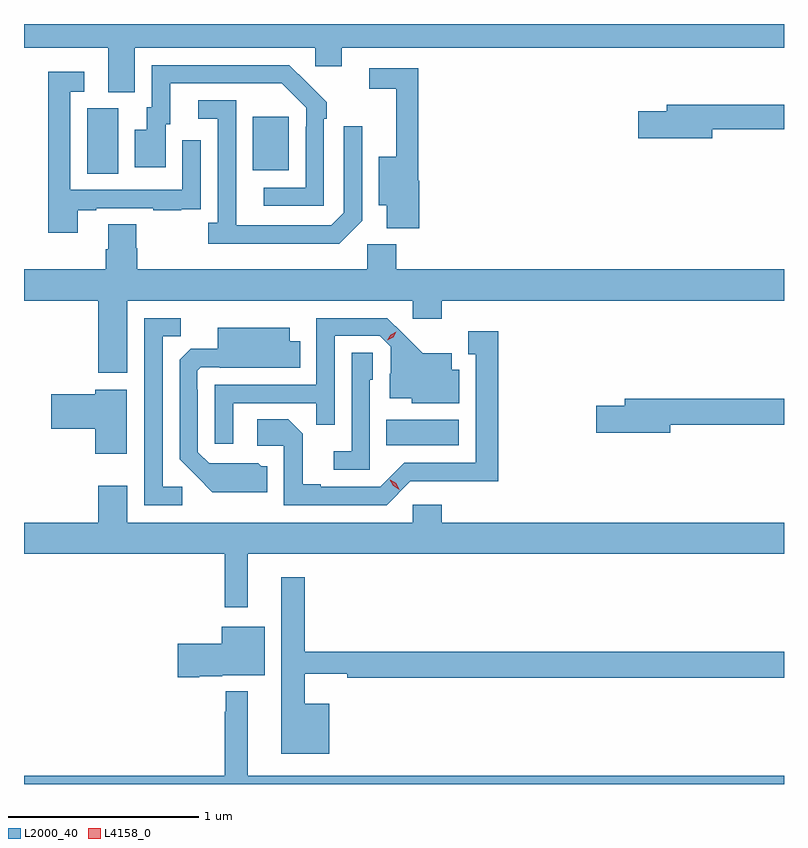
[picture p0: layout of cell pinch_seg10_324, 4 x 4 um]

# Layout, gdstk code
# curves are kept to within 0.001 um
import gdstk
lib = gdstk.Library(unit=1e-6, precision=1e-09)
def R(c, l, rs):  # rectangles x0, y0, x1, y1
    for r in rs: c.add(gdstk.rectangle(r[:2], r[2:], *l))
def P(c, l, *ps):  # polygons
    for p in ps: c.add(gdstk.Polygon(p, *l))
L2000_40 = (2000, 40)
L4158_0 = (4158, 0)

pinch_seg10_324 = lib.new_cell('pinch_seg10_324')
R(pinch_seg10_324, L2000_40, [(516.766,1283.57,517.147,1283.704), (515.192,1285,515.356,1285.344), (516.065,1285.019,516.253,1285.3)])
P(pinch_seg10_324, L2000_40, [(518.86,1285.788),(514.86,1285.788),(514.86,1285.664),(515.303,1285.664),(515.303,1285.429),(515.443,1285.429),(515.443,1285.664),(516.393,1285.664),(516.393,1285.566),(516.532,1285.566),(516.532,1285.664),(518.86,1285.664)],
  [(516.438,1285.289),(516.453,1285.289),(516.453,1285.377),(516.256,1285.572),(515.532,1285.572),(515.532,1285.35),(515.507,1285.35),(515.507,1285.231),(515.444,1285.231),(515.444,1285.035),(515.605,1285.035),(515.605,1285.26),(515.629,1285.26),(515.629,1285.476),(516.217,1285.476),(516.345,1285.347),(516.345,1285.247),(516.342,1285.247),(516.342,1284.927),(516.123,1284.927),(516.123,1284.831),(516.438,1284.831)],
  [(516.941,1284.962),(516.935,1284.962),(516.935,1285.554),(516.678,1285.554),(516.678,1285.446),(516.818,1285.446),(516.818,1285.09),(516.728,1285.09),(516.728,1284.833),(516.77,1284.833),(516.77,1284.714),(516.941,1284.714)],
  [(515.143,1284.807),(515.239,1284.807),(515.239,1284.819),(515.539,1284.819),(515.539,1284.807),(515.687,1284.807),(515.687,1284.813),(515.789,1284.813),(515.789,1284.922),(515.79,1284.922),(515.79,1285.177),(515.694,1285.177),(515.694,1284.915),(515.103,1284.915),(515.103,1285.431),(515.176,1285.431),(515.176,1285.537),(514.987,1285.537),(514.987,1284.69),(515.143,1284.69)],
  [(516.639,1284.753),(516.639,1285.249),(516.543,1285.249),(516.543,1284.795),(516.477,1284.729),(515.976,1284.729),(515.976,1285.386),(515.778,1285.386),(515.778,1285.29),(515.88,1285.29),(515.88,1284.742),(515.829,1284.742),(515.829,1284.632),(516.518,1284.632)],
  [(518.482,1285.234),(518.86,1285.234),(518.86,1285.363),(518.243,1285.363),(518.243,1285.329),(518.094,1285.329),(518.094,1285.187),(518.482,1285.187)],
  [(515.404,1284.332),(516.906,1284.332),(516.906,1284.237),(517.058,1284.237),(517.058,1284.332),(518.86,1284.332),(518.86,1284.496),(516.818,1284.496),(516.818,1284.628),(516.666,1284.628),(516.666,1284.496),(515.456,1284.496),(515.456,1284.609),(515.451,1284.609),(515.451,1284.734),(515.303,1284.734),(515.303,1284.602),(515.291,1284.602),(515.291,1284.496),(514.86,1284.496),(514.86,1284.332),(515.252,1284.332),(515.252,1283.952),(515.404,1283.952)],
  [(515.961,1283.793),(516.397,1283.793),(516.397,1283.68),(516.495,1283.68),(516.495,1284.147),(516.732,1284.147),(516.789,1284.09),(516.789,1283.948),(516.785,1283.948),(516.785,1283.819),(516.9,1283.819),(516.9,1283.792),(517.15,1283.792),(517.15,1283.968),(517.111,1283.968),(517.111,1284.055),(516.959,1284.055),(516.772,1284.24),(516.399,1284.24),(516.399,1283.889),(515.865,1283.889),(515.865,1283.58),(515.961,1283.58)],
  [(515.692,1283.352),(515.589,1283.352),(515.589,1284.145),(515.685,1284.145),(515.685,1284.24),(515.493,1284.24),(515.493,1283.256),(515.692,1283.256)],
  [(516.139,1283.46),(516.108,1283.46),(516.092,1283.476),(515.835,1283.475),(515.775,1283.535),(515.775,1283.864),(515.772,1283.864),(515.772,1283.964),(515.79,1283.982),(515.89,1283.982),(515.89,1283.978),(516.314,1283.978),(516.314,1284.118),(516.259,1284.118),(516.259,1284.19),(515.879,1284.19),(515.879,1284.079),(515.738,1284.079),(515.679,1284.02),(515.679,1283.498),(515.851,1283.324),(516.139,1283.324)],
  [(516.894,1283.382),(517.357,1283.381),(517.357,1284.172),(517.199,1284.172),(517.199,1284.051),(517.238,1284.051),(517.238,1283.478),(516.861,1283.478),(516.735,1283.352),(516.421,1283.352),(516.421,1283.365),(516.327,1283.365),(516.327,1283.632),(516.251,1283.708),(516.087,1283.708),(516.087,1283.568),(516.228,1283.568),(516.228,1283.256),(516.768,1283.256)],
  [(516.681,1283.916),(516.696,1283.916),(516.696,1284.059),(516.585,1284.059),(516.585,1283.539),(516.489,1283.539),(516.489,1283.442),(516.681,1283.442)],
  [(515.401,1283.863),(515.234,1283.863),(515.234,1283.84),(515.004,1283.84),(515.004,1283.657),(515.234,1283.657),(515.234,1283.526),(515.401,1283.526)],
  [(518.26,1283.68),(518.86,1283.68),(518.86,1283.816),(518.021,1283.816),(518.021,1283.78),(517.871,1283.78),(517.871,1283.638),(518.26,1283.638)],
  [(516.037,1283),(518.86,1283),(518.86,1283.164),(517.058,1283.164),(517.058,1283.257),(516.906,1283.257),(516.906,1283.164),(515.404,1283.164),(515.404,1283.359),(515.252,1283.359),(515.252,1283.164),(514.86,1283.164),(514.86,1283),(515.916,1283),(515.916,1282.719),(516.037,1282.719)],
  [(516.466,1282.21),(516.337,1282.21),(516.337,1282.367),(516.562,1282.367),(516.562,1282.348),(518.86,1282.348),(518.86,1282.484),(516.337,1282.484),(516.337,1282.876),(516.215,1282.876),(516.215,1281.947),(516.466,1281.947)],
  [(515.782,1282.355),(515.904,1282.355),(515.904,1282.361),(516.127,1282.361),(516.127,1282.615),(515.9,1282.615),(515.9,1282.527),(515.67,1282.527),(515.67,1282.349),(515.782,1282.349)],
  [(518.86,1281.832),(516.037,1281.832),(516.037,1282.276),(515.923,1282.276),(515.923,1282.169),(515.916,1282.169),(515.916,1281.832),(514.86,1281.832),(514.86,1281.788),(518.86,1281.788)])
P(pinch_seg10_324, L4158_0, [(516.836,1283.338),(516.804,1283.357),(516.786,1283.39),(516.786,1283.39),(516.787,1283.39),(516.818,1283.371),(516.836,1283.339),(516.836,1283.338)],
  [(516.773,1284.123),(516.773,1284.123),(516.789,1284.153),(516.819,1284.169),(516.82,1284.169),(516.82,1284.169),(516.803,1284.139),(516.773,1284.123)])

lib.write_gds('pinch_seg10_324.gds')
